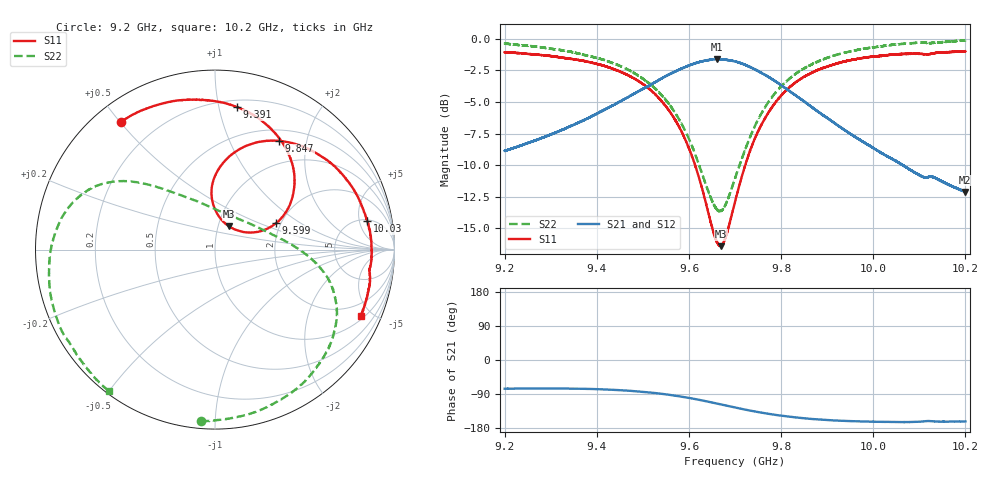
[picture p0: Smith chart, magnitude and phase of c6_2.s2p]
!Agilent Technologies,N5242A,MY51221714,A.09.90.19
!Agilent N5242A: A.09.90.19
!Date: Saturday, March 16, 2024 10:04:05
!Correction: S11(Full 2 Port(1,2))
!S21(Full 2 Port(1,2))
!S12(Full 2 Port(1,2))
!S22(Full 2 Port(1,2))
!S2P File: Measurements: S11, S21, S12, S22:
# Hz S  dB  R 50
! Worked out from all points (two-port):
!   16001 points, 9.2 GHz to 10.2 GHz, reference 50 ohm
!   highest |S21| = -1.61 dB at 9.661 GHz (marker M1); lowest = -12.1 dB at 10.2 GHz (marker M2)
!   |S21| within 3 dB of the highest: 9.468 GHz to 9.837 GHz (368.3 MHz wide, 3.82 % of centre)
!   lowest |S11| = -16.4 dB at 9.669 GHz (marker M3), VSWR 1.36, Z = 56.3 + j14.9 ohm
!   |S11| at or under -10 dB: 9.613 GHz to 9.722 GHz (109.1 MHz wide, 1.13 % of centre)
!   |S22| runs from -13.7 to -0.1 dB; largest |S21 - S12| = 0.01
!   S11 on the Smith chart (normalised r, x): 9.2 GHz: 0.08, +0.50; 9.391 GHz: 0.25, +1.13; 9.599 GHz: 1.89, +0.65; 9.847 GHz: 0.65, +1.55; 10.03 GHz: 5.34, +6.63; 10.2 GHz: 1.19, -4.31
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9.2e9  -1.08 126.3  -8.87 -75.9  -8.87 -76.5  -0.36 -94.7
9.277812e9  -1.27 108.7  -7.89 -75.1  -7.88 -75.6  -0.66 -73.4
9.366688e9  -1.72 87.5  -6.54 -76.0  -6.51 -76.5  -1.22 -50.2
9.390875e9  -1.90 81.3  -6.09 -76.5  -6.09 -77.2  -1.43 -44.1
9.46125e9  -2.76 62.2  -4.74 -80.5  -4.74 -81.0  -2.32 -27.5
9.533375e9  -4.63 40.9  -3.29 -88.1  -3.28 -88.6  -4.17 -11.7
9.59925e9  -8.60 23.5  -2.12 -99.9  -2.12 -100.5  -7.85 5.9
9.630375e9  -12.10 23.3  -1.76 -107.1  -1.75 -107.7  -10.89 23.1
9.66075e9  -16.10 46.4  -1.61 -115.0  -1.61 -115.5  -13.50 57.6
9.669188e9  -16.43 59.2  -1.62 -117.2  -1.62 -117.7  -13.63 71.1
9.7e9  -12.91 90.1  -1.78 -125.3  -1.77 -125.8  -11.06 108.8
9.729562e9  -9.20 92.9  -2.18 -132.8  -2.16 -133.3  -8.07 126.2
9.760188e9  -6.60 86.0  -2.75 -139.4  -2.74 -140.1  -5.73 135.6
9.80425e9  -4.33 72.8  -3.78 -147.6  -3.78 -148.2  -3.62 144.7
9.84725e9  -3.07 59.4  -4.89 -153.5  -4.88 -154.0  -2.39 152.6
9.866688e9  -2.68 53.7  -5.41 -155.6  -5.41 -156.1  -2.02 156.3
9.9505e9  -1.69 30.7  -7.53 -161.2  -7.54 -161.8  -0.99 173.3
1.003338e10  -1.28 10.6  -9.37 -163.4  -9.36 -163.9  -0.50 -167.9
1.003375e10  -1.27 10.5  -9.36 -163.4  -9.36 -163.9  -0.50 -167.8
1.010562e10  -1.19 -5.6  -10.91 -162.3  -10.90 -162.9  -0.29 -150.9
1.019956e10  -0.99 -24.3  -12.13 -162.1  -12.10 -162.8  -0.13 -127.0
1.02e10  -0.99 -24.4  -12.12 -162.1  -12.11 -162.7  -0.13 -126.9
